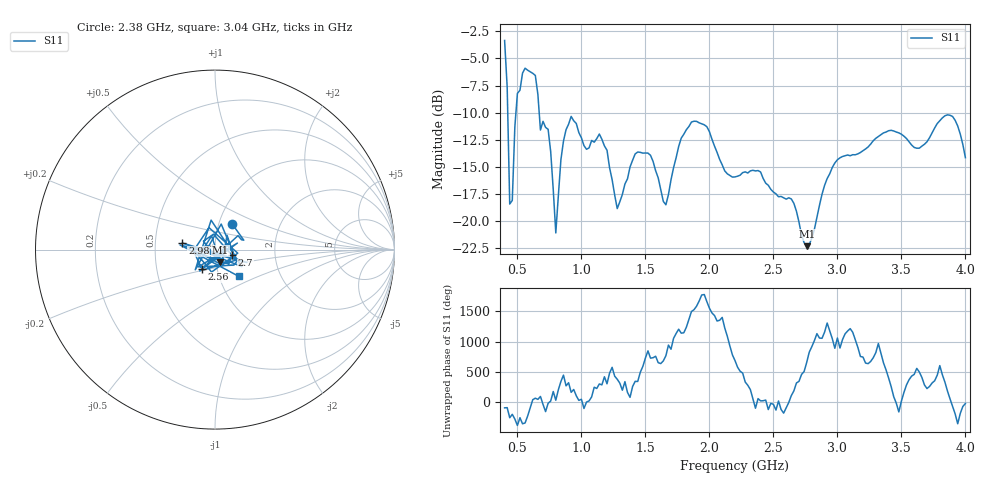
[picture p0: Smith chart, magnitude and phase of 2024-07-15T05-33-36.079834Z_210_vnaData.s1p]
!Created with skrf (http://scikit-rf.org).
# Hz S RI R 50.0
!freq ReS11 ImS11
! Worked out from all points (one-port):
!   181 points, 400 MHz to 4 GHz, reference 50 ohm
!   lowest |S11| = -22.3 dB at 2.76 GHz (marker M1), VSWR 1.17, Z = 52.5 - j7.49 ohm
!   |S11| at or under -10 dB: 424.4 MHz to 488.4 MHz (64.01 MHz wide, 14 % of centre); 670.3 MHz to end of sweep
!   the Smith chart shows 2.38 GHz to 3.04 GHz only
!   S11 on the Smith chart (normalised r, x): 2.38 GHz: 1.16, +0.34; 2.56 GHz: 0.85, -0.19; 2.7 GHz: 1.21, -0.08; 2.98 GHz: 0.69, +0.05; 3.04 GHz: 1.24, -0.38
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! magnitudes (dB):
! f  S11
! 400 MHz  -3.3
! 420 MHz  -7.6
! 440 MHz  -18.4
! 460 MHz  -18.1
! 500 MHz  -8.2
! 560 MHz  -5.9
! 740 MHz  -11.5
! 800 MHz  -21.1
! 860 MHz  -12.6
! 920 MHz  -10.3
! 1.14 GHz  -12.0
! 1.3 GHz  -18.2
! 1.44 GHz  -13.6
! 1.66 GHz  -18.5
! 1.76 GHz  -13.1
! 1.96 GHz  -11.1
! 2.2 GHz  -15.9
! 2.38 GHz  -15.3
! 2.56 GHz  -17.7
! 2.66 GHz  -18.3
! 2.7 GHz  -20.1
! 2.76 GHz  -22.3
! 2.98 GHz  -14.6
! 3.04 GHz  -14.0
! 3.1 GHz  -14.0
! 3.56 GHz  -12.7
! 3.88 GHz  -10.2
! 4 GHz  -14.1
